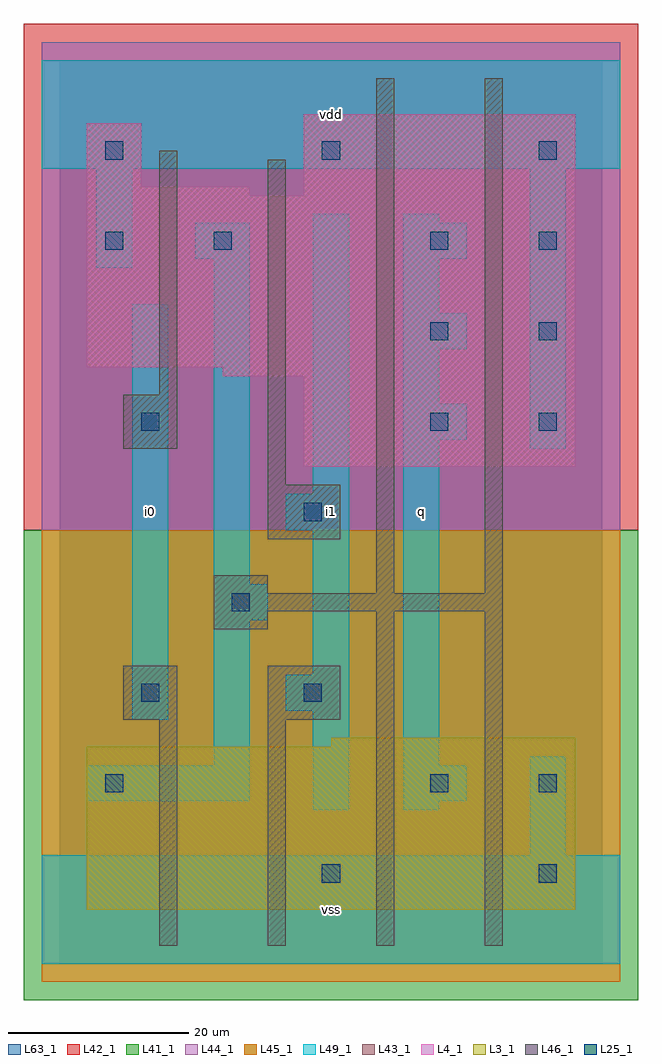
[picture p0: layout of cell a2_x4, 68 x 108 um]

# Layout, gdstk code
import gdstk
lib = gdstk.Library(unit=1e-6, precision=1e-09)
def R(c, l, rs):  # rectangles x0, y0, x1, y1
    for r in rs: c.add(gdstk.rectangle(r[:2], r[2:], *l))
def A(c, l, x, y, w, h, nx, ny, dx, dy):  # array of equal rectangles
    R(c, l, [(x+i*dx, y+j*dy, x+i*dx+w, y+j*dy+h) for i in range(nx) for j in range(ny)])
L3_1 = (3, 1)
L4_1 = (4, 1)
L25_1 = (25, 1)
L41_1 = (41, 1)
L42_1 = (42, 1)
L43_1 = (43, 1)
L44_1 = (44, 1)
L45_1 = (45, 1)
L46_1 = (46, 1)
L49_1 = (49, 1)
L63_1 = (63, 1)

a2_x4 = lib.new_cell('a2_x4')
R(a2_x4, L3_1, [(3,6,57,24), (30,24,57,25)])
R(a2_x4, L4_1, [(27,55,57,65), (18,65,57,66), (3,66,57,85), (3,85,21,86), (27,85,57,94), (3,86,9,93)])
A(a2_x4, L25_1, 41, 59, 2, 2, 1, 3, 0, 10)
A(a2_x4, L25_1, 53, 59, 2, 2, 1, 3, 0, 10)
A(a2_x4, L25_1, 5, 89, 2, 2, 3, 1, 24, 0)
R(a2_x4, L25_1, [(29,9,31,11), (53,9,55,11), (5,19,7,21), (41,19,43,21), (53,19,55,21), (9,29,11,31), (27,29,29,31), (19,39,21,41), (27,49,29,51), (9,59,11,61), (5,79,7,81), (17,79,19,81)])
R(a2_x4, L41_1, [(-4,-4,64,48)])
R(a2_x4, L42_1, [(-4,48,64,104)])
R(a2_x4, L43_1, [(3,6,57,24), (30,24,57,25), (27,55,57,65), (18,65,57,66), (3,66,57,85), (3,85,21,86), (27,85,57,94), (3,86,9,93)])
R(a2_x4, L44_1, [(-2,48,62,102)])
R(a2_x4, L45_1, [(-2,-2,62,48)])
R(a2_x4, L46_1, [(11,2,13,27), (23,2,25,27), (35,2,37,39), (47,2,49,39), (7,27,13,33), (23,27,31,33), (17,37,23,39), (17,39,49,41), (17,41,23,43), (35,41,37,98), (47,41,49,98), (23,47,31,53), (23,53,25,89), (7,57,13,63), (11,63,13,90)])
A(a2_x4, L49_1, 38, 58, 7, 4, 1, 3, 0, 10)
R(a2_x4, L49_1, [(-2,0,62,12), (52,12,56,23), (28,17,32,28), (38,17,42,18), (3,18,21,22), (38,18,45,22), (17,22,21,38), (38,22,42,58), (8,27,12,73), (25,28,32,32), (28,32,32,48), (17,38,23,42), (17,42,21,78), (25,48,32,52), (28,52,32,83), (52,57,56,88), (38,62,42,68), (38,72,42,78), (4,77,8,88), (15,78,21,82), (38,82,42,83), (-2,88,62,100)])
R(a2_x4, L63_1, [(0,0,60,100)])
a2_x4.add(gdstk.Label('i0', (10,50), layer=49, texttype=1))
a2_x4.add(gdstk.Label('vss', (30,6), layer=49, texttype=1))
a2_x4.add(gdstk.Label('q', (40,50), layer=49, texttype=1))
a2_x4.add(gdstk.Label('i1', (30,50), layer=49, texttype=1))
a2_x4.add(gdstk.Label('vdd', (30,94), layer=49, texttype=1))

lib.write_gds('a2_x4.gds')
